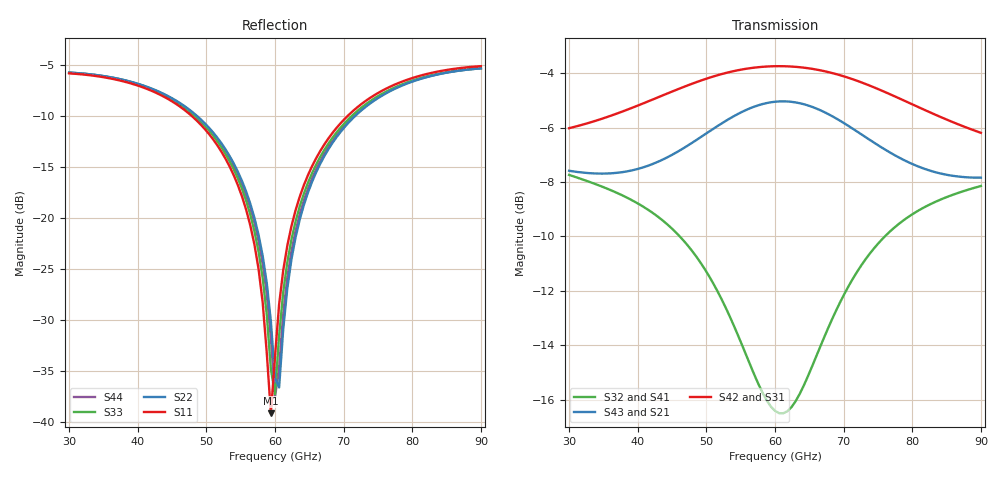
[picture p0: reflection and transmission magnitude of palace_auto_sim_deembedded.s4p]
! Created with skrf 2.0.1 (http://scikit-rf.org).
# GHz S DB R 50.0
!freq dBS11 angS11 dBS12 angS12 dBS13 angS13
! dBS14 angS14
! dBS21 angS21 dBS22 angS22 dBS23 angS23
! dBS24 angS24
! dBS31 angS31 dBS32 angS32 dBS33 angS33
! dBS34 angS34
! dBS41 angS41 dBS42 angS42 dBS43 angS43
! dBS44 angS44
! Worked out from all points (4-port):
!   101 points, 30 GHz to 90 GHz, reference 50 ohm
!   strongest paths, dB at 30 GHz, 45 GHz, 60 GHz, 75 GHz, 90 GHz:
!     S42: -6.0, -4.7, -3.7, -4.6, -6.2
!     S31: -6.0, -4.6, -3.7, -4.7, -6.3
!     S43: -7.6, -7.0, -5.0, -6.6, -7.8
!     S21: -7.5, -6.9, -5.1, -6.7, -8.0
!     S32: -7.7, -9.7, -16.4, -10.3, -8.1
!     S41: -7.7, -9.6, -16.3, -10.5, -8.3
!   lowest |S11| = -39.1 dB at 59.4 GHz (marker M1), VSWR 1.02, Z = 51.1 + j0.186 ohm
!   |S11| at or under -10 dB: 47.92 GHz to 70.54 GHz (22.62 GHz wide, 38.2 % of centre)
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30  -5.80 161.9  -7.53 -46.3  -5.99 -80.5  -7.68 -62.2
    -7.53 -46.3  -5.72 159.4  -7.74 -63.3  -6.02 -81.6
    -5.99 -80.5  -7.74 -63.3  -5.73 159.1  -7.58 -47.2
    -7.68 -62.2  -6.02 -81.6  -7.58 -47.2  -5.72 159.3
52.2  -13.48 113.6  -5.82 -70.9  -3.98 -149.3  -12.07 -108.6
      -5.82 -70.9  -12.65 110.0  -12.30 -109.2  -4.03 -150.6
      -3.98 -149.3  -12.30 -109.2  -13.05 108.4  -5.85 -71.7
      -12.07 -108.6  -4.03 -150.6  -5.85 -71.7  -12.80 109.4
57  -22.56 94.7  -5.22 -82.1  -3.77 -167.2  -14.86 -108.8
    -5.22 -82.1  -19.95 92.5  -15.09 -108.2  -3.79 -168.5
    -3.77 -167.2  -15.09 -108.2  -21.26 89.5  -5.23 -83.0
    -14.86 -108.8  -3.79 -168.5  -5.23 -83.0  -20.42 91.5
59.4  -39.11 9.5  -5.07 -88.5  -3.74 -176.2  -16.13 -101.7
      -5.07 -88.5  -30.10 68.9  -16.25 -100.2  -3.75 -177.6
      -3.74 -176.2  -16.25 -100.2  -34.79 46.8  -5.07 -89.5
      -16.13 -101.7  -3.75 -177.6  -5.07 -89.5  -31.73 63.3
60.6  -28.44 -69.8  -5.04 -91.8  -3.74 179.2  -16.48 -96.2
      -5.04 -91.8  -36.57 -31.1  -16.50 -94.5  -3.74 177.9
      -3.74 179.2  -16.50 -94.5  -31.48 -63.9  -5.04 -92.8
      -16.48 -96.2  -3.74 177.9  -5.04 -92.8  -34.68 -48.5
66.6  -13.40 -100.2  -5.39 -107.8  -3.95 156.7  -14.38 -75.3
      -5.39 -107.8  -14.64 -103.4  -14.05 -75.3  -3.89 155.1
      -3.95 156.7  -14.05 -75.3  -13.97 -105.7  -5.36 -109.0
      -14.38 -75.3  -3.89 155.1  -5.36 -109.0  -14.38 -104.4
90  -5.09 -152.2  -8.02 -138.2  -6.29 82.4  -8.32 -116.5
    -8.02 -138.2  -5.30 -159.4  -8.14 -119.6  -6.19 79.2
    -6.29 82.4  -8.14 -119.6  -5.30 -160.2  -7.84 -140.7
    -8.32 -116.5  -6.19 79.2  -7.84 -140.7  -5.30 -159.8
